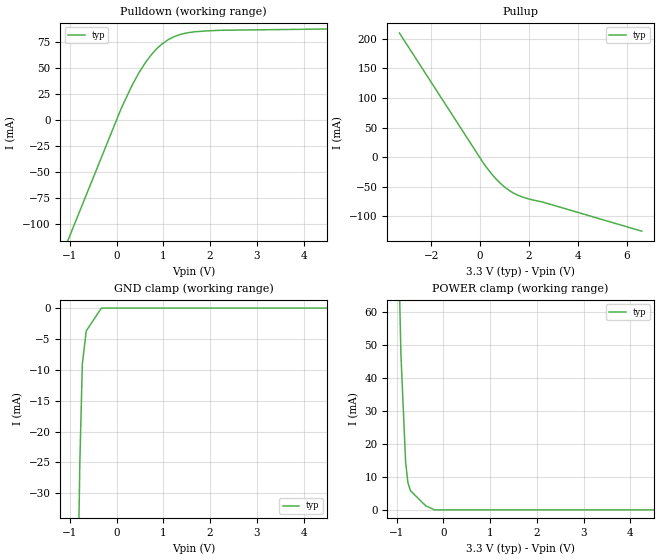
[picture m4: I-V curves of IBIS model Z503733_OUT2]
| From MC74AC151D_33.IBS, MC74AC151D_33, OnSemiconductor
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| (C) COPYRIGHT 1993-2000
| MENTOR GRAPHICS CORPORATION
| ICX STANDARD LIBRARY, ICX PROJECT MODELING,
| ICX CUSTOM MODELING, ICX VENDOR MODEL
| ALL RIGHTS RESERVED.
| THE FOLLOWING ARE TRADEMARKS OR SERVICE MARKS OF
| MENTOR GRAPHICS CORPORATION:ICX (R), ICX STANDARD
| LIBRARY(R), ICX PROJECT MODELING(R), ICX CUSTOM
| MODELING(R), qualityIBIS(TM), MODELVIEWER(TM),
| AND MODELEDITOR(TM)
| ALL COPIES OF SOFTWARE, INCLUDING BUT NOT LIMITED TO
| ANY MODIFICATIONS, ENHANCEMENTS OR DERIVATIVE WORKS,
| MUST CONTAIN ALL MENTOR GRAPHICS CORPORATION'S
| NOTICES AND LEGENDS, INCLUDING THOSE EMBEDDED IN
| SOFTWARE AND THOSE AFFIXED TO SOFTWARE MEDIUM
| AND CONTAINER, AS RECEIVED FROM MENTOR GRAPHICS
| CORPORATION.
| Model Application Version 1.89 2/18/99.
[Model] Z503733_OUT2
Model_type Output
Vref=0.000V
Rref=500.0ohms
Cref=50.00pF
Vmeas=1.650V
C_comp 8.000pF NA NA
| variable typ   min   max
[Voltage Range] 3.300V NA NA
[POWER Clamp Reference] 3.300V NA NA
[Pullup Reference] 3.300V NA NA
[Pulldown Reference] 0.000V NA NA
[GND Clamp Reference] 0.000V NA NA
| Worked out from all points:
|   slope of the pulldown table from 0 to 0.495 V, typ, clamps not added: 10.7 ohm
|   slope of the pullup table from 0 to 0.495 V, typ, clamps not added: 17.6 ohm
|   POWER clamp passes 1 mA (typ) near -0.34 V on its own axis
[GND Clamp]
-3.3V     -837.2mA   NA         NA
-1.016V   -137.5mA   NA         NA
-785.4mV  -25.14mA   NA         NA
-732.1mV  -9.121mA   NA         NA
-648.7mV  -3.698mA   NA         NA
-324.3mV  0A         NA         NA
6.6V      0A         NA         NA
[Pulldown]
-3.3V     -366mA     NA         NA
95.63mV   10.53mA    NA         NA
332.9mV   33.21mA    NA         NA
478.1mV   45.06mA    NA         NA
625.8mV   55.41mA    NA         NA
869.3mV   68.61mA    NA         NA
1.104V    76.76mA    NA         NA
1.219V    79.44mA    NA         NA
1.516V    83.41mA    NA         NA
2.211V    85.82mA    NA         NA
6.6V      88.22mA    NA         NA
[Pullup]
-3.3V     209.8mA    NA         NA
93mV      -7.437mA   NA         NA
617mV     -35.42mA   NA         NA
1.02V     -51.07mA   NA         NA
1.388V    -61.15mA   NA         NA
1.781V    -67.97mA   NA         NA
2.611V    -76.43mA   NA         NA
6.6V      -124.9mA   NA         NA
[POWER Clamp]
-3.3V     2.003A     NA         NA
-1.033V   125.6mA    NA         NA
-909mV    47.07mA    NA         NA
-809mV    14.62mA    NA         NA
-761mV    8.342mA    NA         NA
-704mV    5.782mA    NA         NA
-376mV    1.205mA    NA         NA
-188mV    0A         NA         NA
6.6V      0A         NA         NA
[Ramp]
| variable typ min max
dV/dt_r 1.933/551.9p NA NA
dV/dt_f 1.933/566.1p NA NA
R_load = 500.0Ohms
